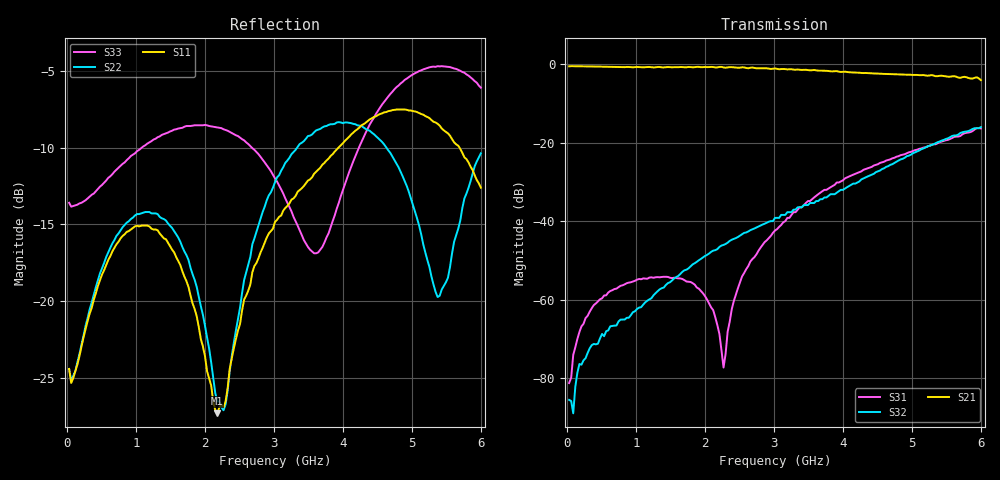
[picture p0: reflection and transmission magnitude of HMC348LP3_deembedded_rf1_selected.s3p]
!Hittite Microwave Corporation
!12 Elizabeth Drive
!Chelmsford, MA 01824
!Tel: 978-250-3343
!Fax: 978-250-3373
!Device: HMC348LP3, DC-2.5 GHz GaAs MMIC SPDT Non-Reflective CATV Switch in Leadless LP3 SMT Package
!Misc: Room Temp Vdd=+5V, RF1 on.
# MHZ S MA R 50
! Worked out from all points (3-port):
!   201 points, 30 MHz to 6 GHz, reference 50 ohm
!   strongest paths, dB at 30 MHz, 1.522 GHz, 3.015 GHz, 4.508 GHz, 6 GHz:
!     S21: -0.6, -0.9, -1.2, -2.5, -4.1
!     S32: -85.5, -55.1, -39.2, -27.3, -16.1
!     S31: -81.2, -54.5, -42.4, -25.5, -16.4
!   lowest |S11| = -27.3 dB at 2.179 GHz (marker M1), VSWR 1.09, Z = 47.2 + j3.11 ohm
!   |S11| at or under -10 dB: start of sweep to 3.936 GHz; 5.689 GHz to end of sweep
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30  0.06 -15.4  0.932 -0.1  6.353e-05 68.8
    0.932 -0.1  0.06 -15.1  2.832e-05 -34.2
    8.706e-05 32.0  5.318e-05 5.6  0.209 -5.7
238.95  0.076 -56.6  0.931 -5.0  0.0005469 82.9
        0.931 -5.1  0.077 -55.3  0.0001659 85.3
        0.0004941 78.0  0.0001694 90.3  0.211 -18.3
895.65  0.169 -110.1  0.915 -17.0  0.00171 79.1
        0.914 -17.0  0.182 -101.3  0.0006096 123.7
        0.001652 78.8  0.0005903 124.8  0.292 -52.7
1791.15  0.104 -161.1  0.919 -33.0  0.001721 75.2
         0.912 -32.9  0.128 -141.7  0.002759 160.4
         0.001681 74.7  0.002662 159.9  0.372 -73.9
2179.2  0.043 130.1  0.907 -39.8  0.0004585 91.6
        0.903 -39.9  0.047 161.9  0.004319 160.8
        0.0004753 89.9  0.004403 161.9  0.368 -80.6
2268.75  0.045 93.8  0.9 -42.8  0.000194 146.5
         0.902 -42.9  0.044 120.2  0.005048 159.1
         0.000137 155.2  0.00498 160.2  0.363 -82.5
2537.4  0.093 50.4  0.903 -47.7  0.001921 -123.3
        0.906 -47.6  0.106 62.2  0.006719 162.4
        0.001978 -124.6  0.006777 160.5  0.337 -88.4
3015  0.181 28.1  0.865 -57.6  0.007846 -131.5
      0.875 -57.7  0.244 34.5  0.011 157.5
      0.00759 -132.7  0.011 156.4  0.251 -105.6
5373.15  0.378 13.0  0.715 -106.5  0.098 154.7
         0.699 -105.2  0.103 -92.7  0.098 112.5
         0.098 155.6  0.101 112.4  0.583 68.2
6000  0.234 4.3  0.655 -122.9  0.143 138.2
      0.622 -123.1  0.303 167.2  0.146 82.9
      0.151 136.6  0.157 81.0  0.496 49.1
